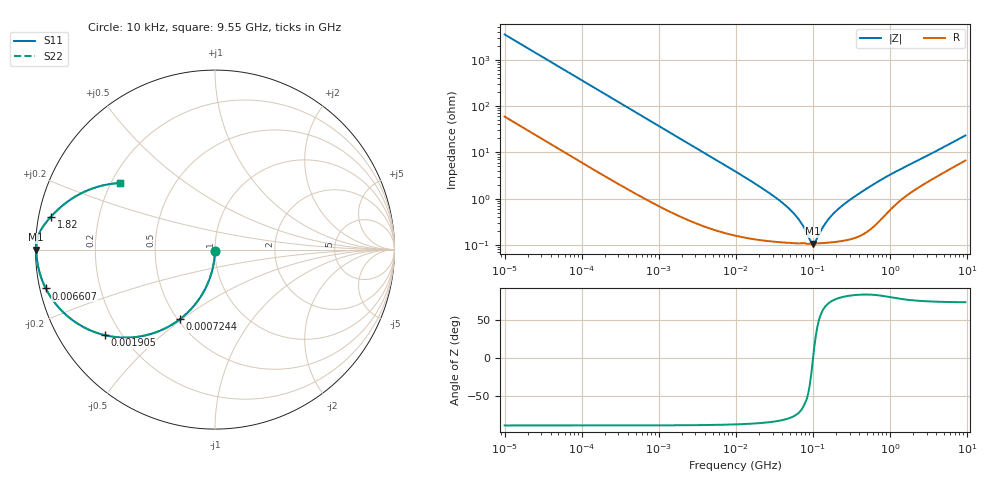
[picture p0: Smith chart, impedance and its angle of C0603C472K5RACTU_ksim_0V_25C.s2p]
! C0603C472K5RAC
! Temp = 25?C, Bias = 0VDC, Shunt
! KEMET S2P Model
# HZ S DB R 50
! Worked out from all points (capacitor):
!   300 points, 10 kHz to 9.55 GHz, reference 50 ohm
!   read as one part in shunt: C = 4.53 nF near 10.47 kHz
!   lowest |Z| = 107 mohm at 100 MHz (marker M1)
!   series resonance near 100.8 MHz, so ESL is about 550 pH
!   S11 on the Smith chart (normalised r, x): 10 kHz: 1.00, -0.01; 724.4 kHz: 0.51, -0.49; 1.905 MHz: 0.14, -0.34; 6.607 MHz: 0.02, -0.11; 1.82 GHz: 0.04, +0.10; 9.55 GHz: 0.23, +0.30
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10000  -42.94 -91.4  -0.00 -0.4  -0.00 -0.4  -42.94 -91.4
100000  -23.24 -94.9  -0.03 -3.9  -0.03 -3.9  -23.24 -94.9
331131.1  -13.20 -103.6  -0.25 -12.6  -0.25 -12.6  -13.20 -103.6
724436.2  -7.23 -116.8  -0.99 -25.8  -0.99 -25.8  -7.23 -116.8
1000000  -5.17 -124.5  -1.68 -33.5  -1.68 -33.5  -5.17 -124.5
1905462  -2.20 -142.1  -4.23 -50.9  -4.23 -50.9  -2.20 -142.1
3467368  -0.84 -156.6  -8.01 -65.2  -8.01 -65.2  -0.84 -156.6
6606937  -0.29 -167.1  -13.00 -75.2  -13.00 -75.2  -0.29 -167.1
1e7  -0.15 -171.4  -16.46 -79.0  -16.46 -79.0  -0.15 -171.4
2.630268e7  -0.05 -176.9  -25.26 -81.8  -25.26 -81.8  -0.05 -176.9
4.786299e7  -0.04 -178.6  -31.95 -78.5  -31.95 -78.5  -0.04 -178.6
6.918312e7  -0.04 -179.3  -38.04 -69.2  -38.04 -69.2  -0.04 -179.3
9.549926e7  -0.04 -179.9  -46.87 -21.2  -46.87 -21.2  -0.04 -179.9
1e8  -0.04 -180.0  -47.43 -3.2  -47.43 -3.2  -0.04 -180.0
1.096478e8  -0.04 179.9  -46.14 29.8  -46.14 29.8  -0.04 179.9
1.513562e8  -0.04 179.3  -37.86 69.0  -37.86 69.0  -0.04 179.3
2.089295e8  -0.04 178.7  -32.78 77.0  -32.78 77.0  -0.04 178.7
3.981075e8  -0.06 177.1  -25.83 80.3  -25.83 80.3  -0.06 177.1
1e9  -0.26 172.8  -17.93 72.9  -17.93 72.9  -0.26 172.8
1.819702e9  -0.62 168.6  -13.82 64.8  -13.82 64.8  -0.62 168.6
4.168693e9  -1.59 159.2  -8.66 53.2  -8.66 53.2  -1.59 159.2
9.549916e9  -3.78 145.0  -4.46 38.3  -4.46 38.3  -3.78 145.0
